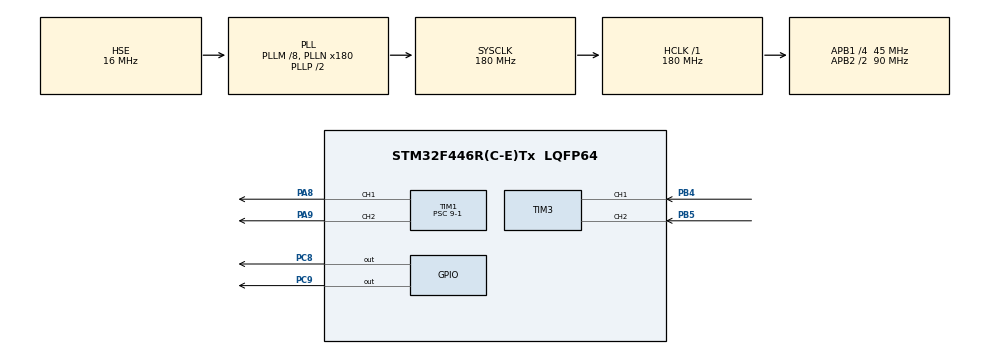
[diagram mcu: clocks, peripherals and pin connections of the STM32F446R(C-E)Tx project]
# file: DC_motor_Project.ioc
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Mcu.Family=STM32F4
Mcu.Name=STM32F446R(C-E)Tx
Mcu.Package=LQFP64
NVIC.PriorityGroup=NVIC_PRIORITYGROUP_4
NVIC.TIM1_BRK_TIM9_IRQn=true\:0\:0\:false\:false\:true\:true\:true\:true
NVIC.TIM1_CC_IRQn=true\:0\:0\:false\:false\:true\:true\:true\:true
NVIC.TIM1_TRG_COM_TIM11_IRQn=true\:0\:0\:false\:false\:true\:true\:true\:true
NVIC.TIM1_UP_TIM10_IRQn=true\:0\:0\:false\:false\:true\:true\:true\:true
PA13.Mode=Serial_Wire
PA13.Signal=SYS_JTMS-SWDIO
PA14.Mode=Serial_Wire
PA14.Signal=SYS_JTCK-SWCLK
PA8.Signal=S_TIM1_CH1
PA9.Signal=S_TIM1_CH2
PB4.GPIO_PuPd=GPIO_PULLUP
PB4.Signal=S_TIM3_CH1
PB5.GPIO_PuPd=GPIO_PULLUP
PB5.Signal=S_TIM3_CH2
PC8.Signal=GPIO_Output
PC9.Signal=GPIO_Output
PH0-OSC_IN.Mode=HSE-External-Oscillator
PH0-OSC_IN.Signal=RCC_OSC_IN
PH1-OSC_OUT.Mode=HSE-External-Oscillator
PH1-OSC_OUT.Signal=RCC_OSC_OUT
ProjectManager.HeapSize=0x200
ProjectManager.StackSize=0x400
ProjectManager.TargetToolchain=STM32CubeIDE
RCC.AHBFreq_Value=180000000
RCC.APB1CLKDivider=RCC_HCLK_DIV4
RCC.APB1Freq_Value=45000000
RCC.APB1TimFreq_Value=90000000
RCC.APB2CLKDivider=RCC_HCLK_DIV2
RCC.APB2Freq_Value=90000000
RCC.APB2TimFreq_Value=180000000
RCC.CortexFreq_Value=180000000
RCC.HCLKFreq_Value=180000000
RCC.HSE_VALUE=16000000
RCC.PLLM=8
RCC.PLLN=180
RCC.PLLSourceVirtual=RCC_PLLSOURCE_HSE
RCC.SYSCLKFreq_VALUE=180000000
RCC.SYSCLKSource=RCC_SYSCLKSOURCE_PLLCLK
RCC.USBFreq_Value=180000000
RCC.VCOOutputFreq_Value=360000000
SH.S_TIM1_CH1.0=TIM1_CH1,PWM Generation1 CH1
SH.S_TIM1_CH2.0=TIM1_CH2,PWM Generation2 CH2
SH.S_TIM3_CH1.0=TIM3_CH1,Encoder_Interface
SH.S_TIM3_CH2.0=TIM3_CH2,Encoder_Interface
TIM1.Channel-PWM\ Generation1\ CH1=TIM_CHANNEL_1
TIM1.Channel-PWM\ Generation2\ CH2=TIM_CHANNEL_2
TIM1.Period=1000-1
TIM1.Prescaler=9-1
TIM3.EncoderMode=TIM_ENCODERMODE_TI12
TIM3.IC1Filter=5
TIM3.IC2Filter=5
board=custom

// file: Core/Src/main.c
/* USER CODE BEGIN Header */
/**
  ******************************************************************************
  * @file           : main.c
  * @brief          : Main program body
  ******************************************************************************
  * @attention
  *
  * Copyright (c) 2024 STMicroelectronics.
  * All rights reserved.
  *
  * This software is licensed under terms that can be found in the LICENSE file
  * in the root directory of this software component.
  * If no LICENSE file comes with this software, it is provided AS-IS.
  *
  ******************************************************************************
  */
/* USER CODE END Header */
#include "main.h"
#include "tim.h"
#include "gpio.h"

/* USER CODE BEGIN PV */
#define ENCODER_MAX 65535

/* USER CODE END PV */

void SystemClock_Config(void);

/* USER CODE BEGIN 0 */
float duty_percent = 0;
float duty_torque = 0;
int32_t encoder_value = 0;
int32_t pre_encoder_value = 0;
int32_t motor_pos = 0;
float motor_rpm = 0;

int32_t ppr = 1100;
int32_t ms = 100;

/* USER CODE END 0 */

int main(void)
{

  /* MCU Configuration--------------------------------------------------------*/

  /* Reset of all peripherals, Initializes the Flash interface and the Systick. */
  HAL_Init();

  /* Configure the system clock */
  SystemClock_Config();

  /* Initialize all configured peripherals */
  MX_GPIO_Init();
  MX_TIM3_Init();
  MX_TIM1_Init();
  /* USER CODE BEGIN 2 */
  HAL_TIM_PWM_Start(&htim1, TIM_CHANNEL_1);
  HAL_TIMEx_PWMN_Start(&htim1, TIM_CHANNEL_1);
  HAL_TIM_PWM_Start(&htim1, TIM_CHANNEL_2);
  HAL_TIMEx_PWMN_Start(&htim1, TIM_CHANNEL_2);

  HAL_TIM_Encoder_Start(&htim3, TIM_CHANNEL_ALL);

  int32_t last_time = HAL_GetTick();
  /* USER CODE END 2 */

  /* Infinite loop */
  while (1)
  {

    /* USER CODE BEGIN 3 */
	  encoder_value = (int16_t)TIM3->CNT;

	  int32_t encoder_diff = encoder_value - pre_encoder_value;

	  if (encoder_value > pre_encoder_value && (encoder_value - pre_encoder_value) > ENCODER_MAX / 2)
	  {
	      motor_pos--;
	  }
	  else if (encoder_value < pre_encoder_value && (pre_encoder_value - encoder_value) > ENCODER_MAX / 2)
	  {
	      motor_pos++;
	  }
	  else
	  {
	      if (encoder_value > pre_encoder_value)
	      {
	          motor_pos++;
	      }
	      else if (encoder_value < pre_encoder_value)
	      {
	          motor_pos--;
	      }
	  }
	  int32_t current_time = HAL_GetTick();

	  if ((current_time - last_time) >= ms)
	     {
	         // 모터 RPM 계산
	         motor_rpm = ((float)encoder_diff / ppr) * (60000 / ms);//?��코더 차이 ?�� PPR ?��?��줘야 ?��

	         pre_encoder_value = encoder_value;
	         last_time = current_time;
	     }

	  if(duty_percent > 0.8)
		  duty_percent = 0.8;
	  else if(duty_percent < -0.8)
		  duty_percent = -0.8;

	  duty_torque = duty_percent * 1000;

	  if(duty_percent > 0)
	  {
		  HAL_GPIO_WritePin(GPIOC, GPIO_PIN_8, 0);
		  TIM1->CCR1 = duty_torque;
		  HAL_GPIO_WritePin(GPIOC, GPIO_PIN_9, 0);
		  TIM1->CCR2 = duty_torque * -1;
	  }
	  else if(duty_percent < 0)
	  {
		  HAL_GPIO_WritePin(GPIOC, GPIO_PIN_8, 1);
		  TIM1->CCR1 = duty_torque * -1;
		  HAL_GPIO_WritePin(GPIOC, GPIO_PIN_9, 1);
		  TIM1->CCR2 = duty_torque;
	  }
	  else if(duty_percent == 0)
	  {
		  HAL_GPIO_WritePin(GPIOC, GPIO_PIN_8, 0);
		  TIM1->CCR1 = duty_torque;
		  HAL_GPIO_WritePin(GPIOC, GPIO_PIN_9, 0);
		  TIM1->CCR2 = duty_torque * -1;
	  }
  }
  /* USER CODE END 3 */
}

void SystemClock_Config(void)
{
  RCC_OscInitTypeDef RCC_OscInitStruct = {0};
  RCC_ClkInitTypeDef RCC_ClkInitStruct = {0};

  /** Configure the main internal regulator output voltage
  */
  __HAL_RCC_PWR_CLK_ENABLE();
  __HAL_PWR_VOLTAGESCALING_CONFIG(PWR_REGULATOR_VOLTAGE_SCALE1);

  /** Initializes the RCC Oscillators according to the specified parameters
  * in the RCC_OscInitTypeDef structure.
  */
  RCC_OscInitStruct.OscillatorType = RCC_OSCILLATORTYPE_HSE;
  RCC_OscInitStruct.HSEState = RCC_HSE_ON;
  RCC_OscInitStruct.PLL.PLLState = RCC_PLL_ON;
  RCC_OscInitStruct.PLL.PLLSource = RCC_PLLSOURCE_HSE;
  RCC_OscInitStruct.PLL.PLLM = 8;
  RCC_OscInitStruct.PLL.PLLN = 180;
  RCC_OscInitStruct.PLL.PLLP = RCC_PLLP_DIV2;
  RCC_OscInitStruct.PLL.PLLQ = 2;
  RCC_OscInitStruct.PLL.PLLR = 2;
  if (HAL_RCC_OscConfig(&RCC_OscInitStruct) != HAL_OK)
  {
    Error_Handler();
  }

  /** Activate the Over-Drive mode
  */
  if (HAL_PWREx_EnableOverDrive() != HAL_OK)
  {
    Error_Handler();
  }

  /** Initializes the CPU, AHB and APB buses clocks
  */
  RCC_ClkInitStruct.ClockType = RCC_CLOCKTYPE_HCLK|RCC_CLOCKTYPE_SYSCLK
                              |RCC_CLOCKTYPE_PCLK1|RCC_CLOCKTYPE_PCLK2;
  RCC_ClkInitStruct.SYSCLKSource = RCC_SYSCLKSOURCE_PLLCLK;
  RCC_ClkInitStruct.AHBCLKDivider = RCC_SYSCLK_DIV1;
  RCC_ClkInitStruct.APB1CLKDivider = RCC_HCLK_DIV4;
  RCC_ClkInitStruct.APB2CLKDivider = RCC_HCLK_DIV2;

  if (HAL_RCC_ClockConfig(&RCC_ClkInitStruct, FLASH_LATENCY_5) != HAL_OK)
  {
    Error_Handler();
  }
}

void Error_Handler(void)
{
  __disable_irq();
  while (1)
  {
  }
}
